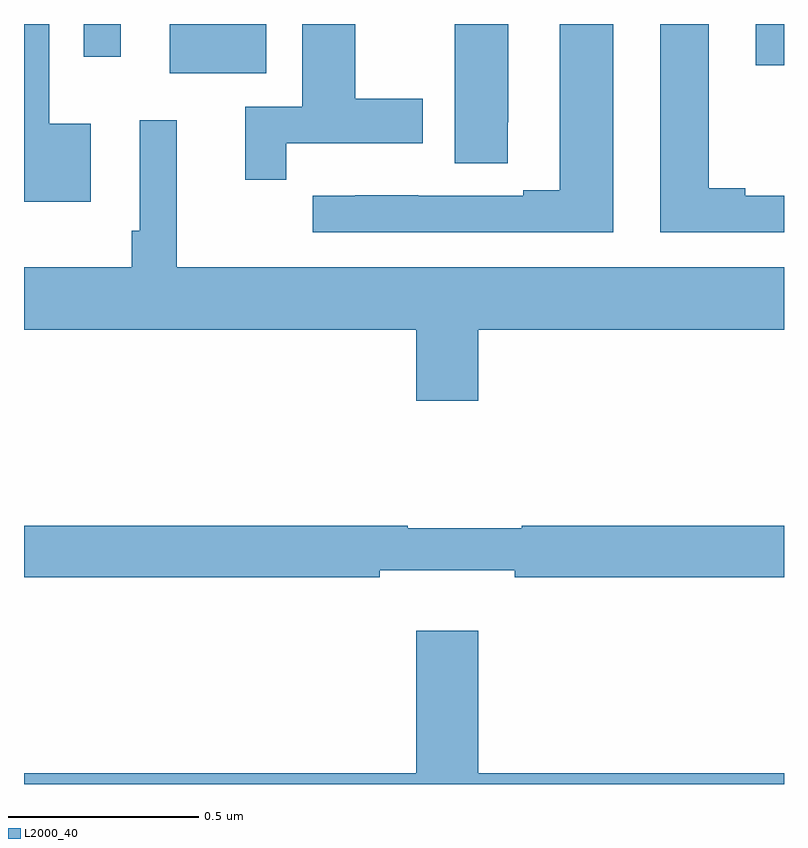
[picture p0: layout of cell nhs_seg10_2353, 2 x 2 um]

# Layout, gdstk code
import gdstk
lib = gdstk.Library(unit=1e-6, precision=1e-09)
def R(c, l, rs):  # rectangles x0, y0, x1, y1
    for r in rs: c.add(gdstk.rectangle(r[:2], r[2:], *l))
def P(c, l, *ps):  # polygons
    for p in ps: c.add(gdstk.Polygon(p, *l))
L2000_40 = (2000, 40)

nhs_seg10_2353 = lib.new_cell('nhs_seg10_2353')
R(nhs_seg10_2353, L2000_40, [(140.384,1254.371,140.638,1254.5), (141.926,1254.392,142,1254.5), (140.157,1254.414,140.254,1254.5)])
P(nhs_seg10_2353, L2000_40, [(142,1254.048),(141.898,1254.048),(141.898,1254.068),(141.802,1254.068),(141.802,1254.5),(141.674,1254.5),(141.674,1253.952),(142,1253.952)],
  [(141.55,1254.5),(141.41,1254.5),(141.41,1254.063),(141.314,1254.063),(141.314,1254.048),(141.038,1254.048),(141.038,1254.049),(140.872,1254.049),(140.872,1254.048),(140.76,1254.048),(140.76,1253.952),(141.55,1253.952)],
  [(140.69,1254.186),(141.049,1254.186),(141.049,1254.303),(140.872,1254.303),(140.872,1254.5),(140.732,1254.5),(140.732,1254.282),(140.582,1254.282),(140.582,1254.09),(140.69,1254.09)],
  [(141.273,1254.241),(141.274,1254.241),(141.274,1254.5),(141.134,1254.5),(141.134,1254.133),(141.273,1254.133)],
  [(140.176,1254.238),(140.067,1254.238),(140.067,1254.5),(140,1254.5),(140,1254.032),(140.176,1254.032)],
  [(141.196,1253.696),(142,1253.696),(142,1253.86),(140.402,1253.86),(140.402,1254.247),(140.304,1254.247),(140.304,1253.956),(140.284,1253.956),(140.284,1253.86),(140,1253.86),(140,1253.696),(141.032,1253.696),(141.032,1253.508),(141.196,1253.508)],
  [(140.936,1253.063),(141.292,1253.063),(141.292,1253.044),(142,1253.044),(142,1253.18),(141.31,1253.18),(141.31,1253.173),(141.01,1253.173),(141.01,1253.18),(140,1253.18),(140,1253.044),(140.936,1253.044)],
  [(142,1252.528),(141.196,1252.528),(141.196,1252.903),(141.032,1252.903),(141.032,1252.528),(140,1252.528),(140,1252.5),(142,1252.5)])

lib.write_gds('nhs_seg10_2353.gds')
